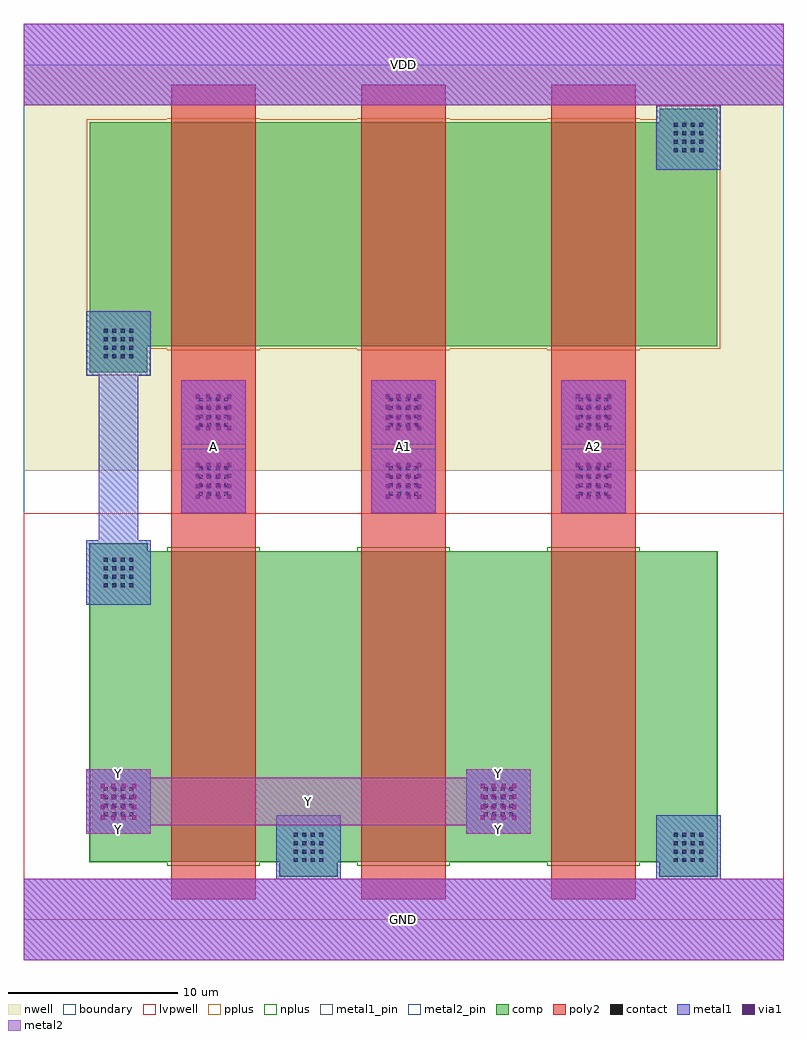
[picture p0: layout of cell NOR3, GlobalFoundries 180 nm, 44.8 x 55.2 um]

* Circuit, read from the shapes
.subckt NOR3 A A1 A2 GND VDD Y
XM1 GND A Y VSUBS nfet_03v3 w=18.3u l=5u
XM2 Y A1 GND VSUBS nfet_03v3 w=18.3u l=5u
XM3 GND A2 Y VSUBS nfet_03v3 w=18.3u l=5u
XM4 n1 A Y n2 pfet_03v3 w=13.2u l=5u
XM5 n3 A1 n1 n2 pfet_03v3 w=13.2u l=5u
XM6 VDD A2 n3 n2 pfet_03v3 w=13.2u l=5u
.ends

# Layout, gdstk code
import gdstk
lib = gdstk.Library(unit=1e-6, precision=1e-09)
def R(c, l, rs):  # rectangles x0, y0, x1, y1
    for r in rs: c.add(gdstk.rectangle(r[:2], r[2:], *l))
def A(c, l, x, y, w, h, nx, ny, dx, dy):  # array of equal rectangles
    R(c, l, [(x+i*dx, y+j*dy, x+i*dx+w, y+j*dy+h) for i in range(nx) for j in range(ny)])
boundary = (0, 0)
nwell = (21, 0)
comp = (22, 0)
poly2 = (30, 0)
pplus = (31, 0)
nplus = (32, 0)
contact = (33, 0)
metal1 = (34, 0)
metal1_pin = (34, 10)
via1 = (35, 0)
metal2 = (36, 0)
metal2_pin = (36, 10)
lvpwell = (204, 0)

nor3 = lib.new_cell('NOR3')
R(nor3, boundary, [(0,0,44.8,50.4)])
R(nor3, nwell, [(0,26.45,44.8,50.4)])
R(nor3, comp, [(15.1,2.55,18.5,3.4), (37.5,2.55,40.9,3.4), (3.9,3.4,40.9,21.7), (3.9,21.7,7.3,22.15), (3.9,32.25,7.3,33.8), (3.9,33.8,40.9,47), (37.5,47,40.9,47.8)])
A(nor3, poly2, 8.7, 1.2, 5, 48, 3, 1, 11.2, 0)
A(nor3, pplus, 8.47, 33.57, 5.46, 0.07, 3, 2, 11.2, 13.59)
R(nor3, pplus, [(3.74,32.09,7.46,33.64), (3.74,33.64,41.06,47.16), (37.34,47.16,41.06,47.96)])
A(nor3, nplus, 8.47, 3.17, 5.46, 0.21, 3, 2, 11.2, 18.55)
R(nor3, nplus, [(15.08,2.53,18.52,3.38), (37.48,2.53,40.92,3.38), (3.88,3.38,40.92,21.72), (3.88,21.72,7.32,22.17)])
A(nor3, contact, 15.94, 3.39, 0.22, 0.22, 4, 4, 0.5, 0.5)
A(nor3, contact, 38.34, 3.39, 0.22, 0.22, 4, 4, 0.5, 0.5)
A(nor3, contact, 4.74, 6.09, 0.22, 0.22, 4, 4, 0.5, 0.5)
A(nor3, contact, 27.14, 6.09, 0.22, 0.22, 4, 4, 0.5, 0.5)
A(nor3, contact, 4.74, 19.59, 0.22, 0.22, 4, 4, 0.5, 0.5)
A(nor3, contact, 10.34, 24.99, 0.22, 0.22, 4, 4, 0.5, 0.5)
A(nor3, contact, 21.54, 24.99, 0.22, 0.22, 4, 4, 0.5, 0.5)
A(nor3, contact, 32.74, 24.99, 0.22, 0.22, 4, 4, 0.5, 0.5)
A(nor3, contact, 10.34, 29.04, 0.22, 0.22, 4, 4, 0.5, 0.5)
A(nor3, contact, 21.54, 29.04, 0.22, 0.22, 4, 4, 0.5, 0.5)
A(nor3, contact, 32.74, 29.04, 0.22, 0.22, 4, 4, 0.5, 0.5)
A(nor3, contact, 4.74, 33.09, 0.22, 0.22, 4, 4, 0.5, 0.5)
A(nor3, contact, 38.34, 45.24, 0.22, 0.22, 4, 4, 0.5, 0.5)
A(nor3, metal1, 3.7, 5.05, 3.8, 3.8, 1, 3, 0, 13.5)
A(nor3, metal1, 9.3, 23.95, 3.8, 3.8, 3, 2, 11.2, 4.05)
R(nor3, metal1, [(0,-2.4,44.8,2.4), (14.9,2.4,18.7,6.15), (37.3,2.4,41.1,6.15), (26.1,5.05,29.9,8.85), (4.45,22.35,6.75,32.05), (37.3,44.2,41.1,48), (0,48,44.8,52.8)])
R(nor3, metal1_pin, [(0,-2.4,44.8,2.4), (0,48,44.8,52.8)])
A(nor3, via1, 4.54, 5.89, 0.26, 0.26, 4, 4, 0.62, 0.62)
A(nor3, via1, 26.94, 5.89, 0.26, 0.26, 4, 4, 0.62, 0.62)
A(nor3, via1, 10.14, 24.79, 0.26, 0.26, 4, 4, 0.62, 0.62)
A(nor3, via1, 21.34, 24.79, 0.26, 0.26, 4, 4, 0.62, 0.62)
A(nor3, via1, 32.54, 24.79, 0.26, 0.26, 4, 4, 0.62, 0.62)
A(nor3, via1, 10.14, 28.84, 0.26, 0.26, 4, 4, 0.62, 0.62)
A(nor3, via1, 21.34, 28.84, 0.26, 0.26, 4, 4, 0.62, 0.62)
A(nor3, via1, 32.54, 28.84, 0.26, 0.26, 4, 4, 0.62, 0.62)
A(nor3, metal2, 9.3, 23.95, 3.8, 7.85, 3, 1, 11.2, 0)
R(nor3, metal2, [(0,-2.4,44.8,2.4), (3.7,5.05,7.5,5.55), (26.1,5.05,29.9,5.55), (3.7,5.55,29.9,8.35), (3.7,8.35,7.5,8.85), (26.1,8.35,29.9,8.85), (0,48,44.8,52.8)])
A(nor3, metal2_pin, 9.3, 23.95, 3.8, 7.85, 3, 1, 11.2, 0)
R(nor3, metal2_pin, [(3.7,5.05,7.5,5.55), (26.1,5.05,29.9,5.55), (3.7,5.55,29.9,8.35), (3.7,8.35,7.5,8.85), (26.1,8.35,29.9,8.85)])
R(nor3, lvpwell, [(0,0,44.8,23.95)])
nor3.add(gdstk.Label('VDD', (22.4,50.4), layer=34, texttype=10))
nor3.add(gdstk.Label('GND', (22.4,0), layer=34, texttype=10))
nor3.add(gdstk.Label('Y', (5.6,5.3), layer=36, texttype=10))
nor3.add(gdstk.Label('Y', (28,5.3), layer=36, texttype=10))
nor3.add(gdstk.Label('Y', (16.8,6.95), layer=36, texttype=10))
nor3.add(gdstk.Label('Y', (5.6,8.6), layer=36, texttype=10))
nor3.add(gdstk.Label('Y', (28,8.6), layer=36, texttype=10))
nor3.add(gdstk.Label('A1', (22.4,27.875), layer=36, texttype=10))
nor3.add(gdstk.Label('A', (11.2,27.875), layer=36, texttype=10))
nor3.add(gdstk.Label('A2', (33.6,27.875), layer=36, texttype=10))

lib.write_gds('NOR3.gds')
